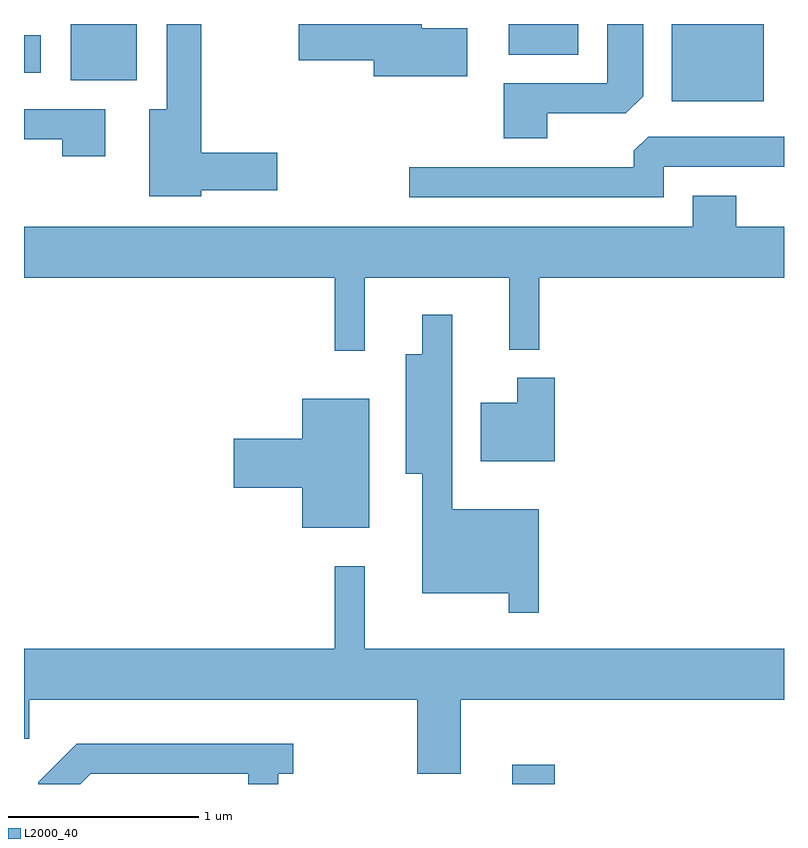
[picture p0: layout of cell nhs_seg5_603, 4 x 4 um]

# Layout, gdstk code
import gdstk
lib = gdstk.Library(unit=1e-6, precision=1e-09)
def R(c, l, rs):  # rectangles x0, y0, x1, y1
    for r in rs: c.add(gdstk.rectangle(r[:2], r[2:], *l))
def P(c, l, *ps):  # polygons
    for p in ps: c.add(gdstk.Polygon(p, *l))
L2000_40 = (2000, 40)

nhs_seg5_603 = lib.new_cell('nhs_seg5_603')
R(nhs_seg5_603, L2000_40, [(204.181,1514.072,204.404,1514.174), (205.021,1517.666,205.504,1518.072), (201.856,1517.776,202.204,1518.072), (201.611,1517.816,201.699,1518.014), (204.161,1517.911,204.529,1518.072)])
P(nhs_seg5_603, L2000_40, [(203.944,1518.049),(203.704,1518.049),(203.704,1518.072),(203.056,1518.072),(203.056,1517.881),(203.451,1517.881),(203.451,1517.796),(203.944,1517.796)],
  [(202.544,1517.196),(202.944,1517.196),(202.944,1517.394),(202.544,1517.394),(202.544,1518.072),(202.361,1518.072),(202.361,1517.624),(202.271,1517.624),(202.271,1517.166),(202.544,1517.166)],
  [(204.364,1517.601),(204.779,1517.601),(204.869,1517.692),(204.869,1518.072),(204.681,1518.072),(204.681,1517.759),(204.136,1517.759),(204.136,1517.471),(204.364,1517.471)],
  [(202.039,1517.624),(201.611,1517.624),(201.611,1517.466),(201.811,1517.466),(201.811,1517.376),(202.039,1517.376)],
  [(204.979,1517.321),(205.611,1517.321),(205.611,1517.479),(204.897,1517.479),(204.821,1517.404),(204.821,1517.319),(203.638,1517.319),(203.638,1517.161),(204.979,1517.161)],
  [(203.404,1516.736),(204.166,1516.736),(204.166,1516.358),(204.324,1516.358),(204.324,1516.736),(205.611,1516.736),(205.611,1517.004),(205.359,1517.004),(205.359,1517.169),(205.131,1517.169),(205.131,1517.004),(201.611,1517.004),(201.611,1516.736),(203.246,1516.736),(203.246,1516.353),(203.404,1516.353)],
  [(204.319,1515.519),(203.864,1515.519),(203.864,1516.543),(203.706,1516.543),(203.706,1516.334),(203.621,1516.334),(203.621,1515.706),(203.706,1515.706),(203.706,1515.076),(204.161,1515.076),(204.161,1514.973),(204.319,1514.973)],
  [(204.404,1516.209),(204.206,1516.209),(204.206,1516.079),(204.016,1516.079),(204.016,1515.771),(204.404,1515.771)],
  [(203.429,1516.099),(203.076,1516.099),(203.076,1515.889),(202.716,1515.889),(202.716,1515.631),(203.076,1515.631),(203.076,1515.421),(203.429,1515.421)],
  [(203.909,1514.516),(205.611,1514.516),(205.611,1514.784),(203.404,1514.784),(203.404,1515.218),(203.246,1515.218),(203.246,1514.784),(201.611,1514.784),(201.611,1514.311),(201.639,1514.311),(201.639,1514.516),(203.681,1514.516),(203.681,1514.126),(203.909,1514.126)],
  [(201.962,1514.126),(202.791,1514.126),(202.791,1514.072),(202.949,1514.072),(202.949,1514.126),(203.028,1514.126),(203.028,1514.284),(201.889,1514.284),(201.686,1514.082),(201.686,1514.072),(201.908,1514.072)])

lib.write_gds('nhs_seg5_603.gds')
